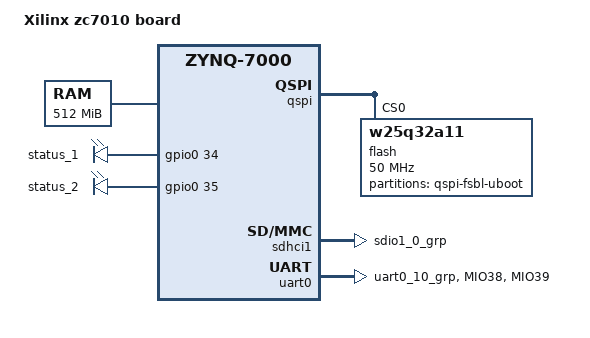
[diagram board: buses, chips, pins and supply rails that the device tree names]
// SPDX-License-Identifier: GPL-2.0+
/*
 *  Copyright (C) 2011 - 2015 Xilinx
 *  Copyright (C) 2012 National Instruments Corp.
 */
 
 /*
 Device tree for U-Boot
 */
 
/dts-v1/;
/include/ "zynq-7000.dtsi"

/ {
	model = "Xilinx zc7010 board";
	compatible = "xlnx,zynq-zc7010", "xlnx,zynq-7000";

	aliases {
		serial0 = &uart0;
		spi0 = &qspi;
		mmc0 = &sdhci1;
	};

	memory@0 {
		device_type = "memory";
		reg = <0x0 0x20000000>;
	};

	chosen {
		bootargs = "";
		stdout-path = "serial0:921600n8";
	};

	leds {
		compatible = "gpio-leds";

		status_1 {
			label = "status_1";
			gpios = <&gpio0 34 0>;
			linux,default-trigger = "heartbeat";
		};
		status_2 {
			label = "status_2";
			gpios = <&gpio0 35 0>;
		};
	};
};

&amba {
	ocm: sram@fffc0000 {
		compatible = "mmio-sram";
		reg = <0xfffc0000 0x10000>;
	};
};

&clkc {
	ps-clk-frequency = <33333333>;
};


&gpio0 {
	pinctrl-names = "default";
	pinctrl-0 = <&pinctrl_gpio0_default>;
};

&pinctrl0 {

	pinctrl_gpio0_default: gpio0-default {
		mux {
			function = "gpio0";
			groups = "gpio0_34_grp", "gpio0_35_grp";
		};

		conf {
			groups = "gpio0_34_grp", "gpio0_35_grp";
			slew-rate = <0>;
			io-standard = <1>;
		};
	};
	
	pinctrl_sdhci1_default: sdhci1-default {
		mux {
			groups = "sdio1_0_grp";
			function = "sdio1";
		};

		conf {
			groups = "sdio1_0_grp";
			slew-rate = <0>;
			io-standard = <1>;
			bias-disable;
		};
	};

	pinctrl_uart0_default: uart0-default {
		mux {
			groups = "uart0_10_grp";
			function = "uart0";
		};

		conf {
			groups = "uart0_10_grp";
			slew-rate = <0>;
			io-standard = <1>;
		};

		conf-rx {
			pins = "MIO38";
			bias-high-impedance;
		};

		conf-tx {
			pins = "MIO39";
			bias-disable;
		};
	};
};

&qspi {
	u-boot,dm-pre-reloc;
	status = "okay";
	is-dual = <0>;
	num-cs = <1>;
	flash@0 {
		compatible = "w25q32a11";
		reg = <0x0>;
		spi-tx-bus-width = <1>;
		spi-rx-bus-width = <4>;
		spi-max-frequency = <50000000>;
		#address-cells = <1>;
		#size-cells = <1>;
		partition@qspi-fsbl-uboot {
			label = "qspi-fsbl-uboot";
			reg = <0x0 0x300000>;
		};
	};
};

&sdhci1 {
	u-boot,dm-pre-reloc;
	status = "okay";
	pinctrl-names = "default";
	pinctrl-0 = <&pinctrl_sdhci1_default>;
};

&uart0 {
	u-boot,dm-pre-reloc;
	status = "okay";
	pinctrl-names = "default";
	pinctrl-0 = <&pinctrl_uart0_default>;
};
